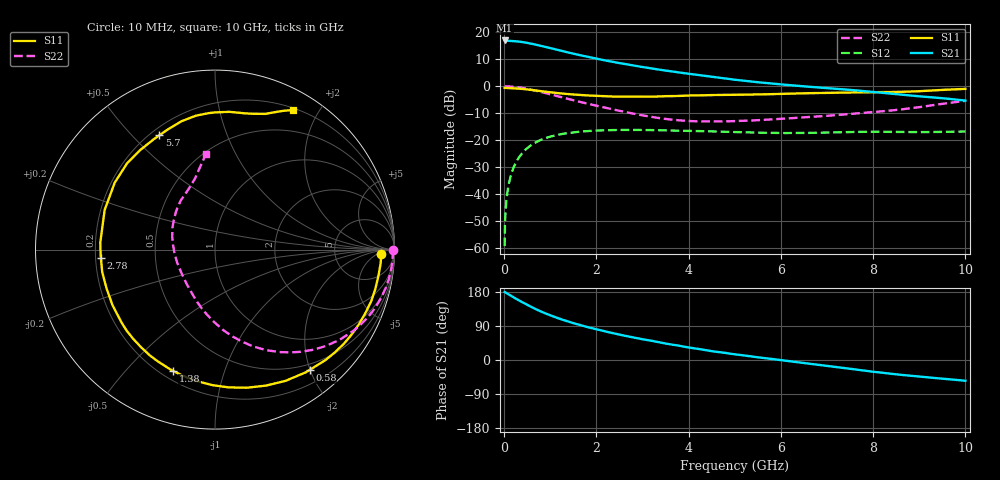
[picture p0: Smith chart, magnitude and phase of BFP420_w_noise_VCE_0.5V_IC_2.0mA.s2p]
! Infineon Technologies  Discrete & RF Semiconductors
! BFP420
! VCE =  0.5 V,  IC =  2.0 mA
! Common Emitter S-Parameters:  Jan 2016
# GHz  S  MA  R  50
!  f  S11  S21  S12  S22
! GHz  MAG  ANG  MAG  ANG  MAG  ANG  MAG  ANG
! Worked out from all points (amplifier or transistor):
!   233 points, 10 MHz to 10 GHz, reference 50 ohm
!   highest |S21| = 16.9 dB at 10 MHz (marker M1)
!   |S21| within 3 dB of that: start of sweep to 1.042 GHz
!   unconditionally stable (mu >= 1): 3.926 GHz to end of sweep
!   at 200 MHz: K = 0.04, MSG = 23.5 dB, |S12| = -30.3 dB
!   at 1.74 GHz: K = 0.41, MSG = 13.9 dB, |S12| = -16.7 dB
!   at 10 GHz: K = 1.18, MAG = 3.1 dB, |S12| = -16.8 dB
!   lowest NFmin = 0.53 dB at 900 MHz
!   S11 on the Smith chart (normalised r, x): 10 MHz: 24, -8; 580 MHz: 0.40, -1.99; 1.38 GHz: 0.25, -0.68; 2.78 GHz: 0.22, -0.04; 5.7 GHz: 0.24, +0.60; 10 GHz: 0.22, +1.68
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0.01  0.9278 -1.5  7 179.4  0.0011 83.9  0.9904 -0.2
0.02  0.9257 -1.8  6.819 179.0  0.0031 87.6  0.9912 -1.2
0.045  0.926 -4.1  6.858 176.9  0.007 86.1  0.9907 -2.9
0.14  0.9199 -12.9  6.879 170.1  0.0216 82.2  0.9832 -9.0
0.24  0.9106 -21.9  6.771 162.8  0.0365 76.7  0.967 -15.2
0.36  0.8946 -32.8  6.605 154.7  0.0535 70.1  0.9376 -22.5
0.45  0.8797 -40.7  6.428 148.7  0.0654 65.4  0.9104 -27.7
0.58  0.853 -51.8  6.122 140.5  0.0806 58.9  0.8643 -34.7
0.7  0.8302 -61.7  5.83 133.4  0.093 53.4  0.8195 -40.9
0.9  0.79 -76.9  5.307 122.7  0.1098 45.1  0.7435 -50.0
1.18  0.7419 -96.4  4.635 109.8  0.1269 35.4  0.6444 -61.1
1.38  0.7148 -109.1  4.215 101.7  0.1356 29.6  0.5828 -68.1
1.68  0.6836 -126.1  3.688 91.0  0.1449 22.1  0.5035 -77.3
2.2  0.6497 -151.5  2.981 75.1  0.1535 11.5  0.3983 -91.6
2.78  0.6379 -175.7  2.423 60.0  0.1556 2.2  0.313 -107.6
3.4  0.6466 163.4  1.999 45.9  0.1531 -5.4  0.2543 -126.1
4.4  0.6817 137.5  1.525 25.4  0.1465 -14.1  0.2225 -158.4
5.1  0.6946 125.3  1.287 13.6  0.1409 -17.9  0.2271 -176.7
5.7  0.7083 115.9  1.138 4.3  0.1372 -19.7  0.2395 169.5
6.8  0.7467 100.7  0.947 -12.5  0.1377 -22.2  0.2752 147.7
8.4  0.7771 77.7  0.725 -36.5  0.1426 -29.8  0.3556 116.9
10  0.8902 60.9  0.541 -54.8  0.1452 -34.0  0.5349 95.4
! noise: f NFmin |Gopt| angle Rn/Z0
0.9  0.53  0.47  33  0.22
1.8  1.03  0.29  77  0.17
2.4  1.13  0.31  102  0.16
3  1.32  0.31  136  0.12
4  1.57  0.37  -168  0.1
5  1.96  0.42  -129  0.28
6  2.72  0.51  -111  0.37
